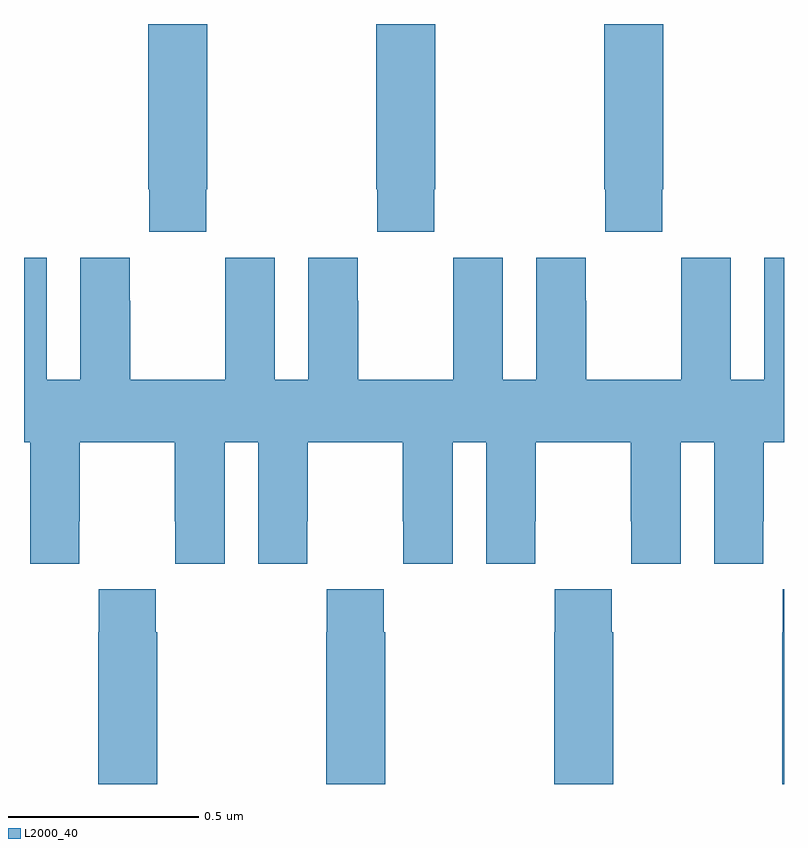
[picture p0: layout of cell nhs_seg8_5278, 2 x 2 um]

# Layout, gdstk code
import gdstk
lib = gdstk.Library(unit=1e-6, precision=1e-09)
def P(c, l, *ps):  # polygons
    for p in ps: c.add(gdstk.Polygon(p, *l))
L2000_40 = (2000, 40)

nhs_seg8_5278 = lib.new_cell('nhs_seg8_5278')
P(nhs_seg8_5278, L2000_40, [(182.679,1150.465),(182.682,1150.465),(182.682,1150.9),(182.527,1150.9),(182.527,1150.465),(182.529,1150.465),(182.529,1150.353),(182.679,1150.353)],
  [(182.079,1150.465),(182.082,1150.465),(182.082,1150.9),(181.927,1150.9),(181.927,1150.465),(181.929,1150.465),(181.929,1150.353),(182.079,1150.353)],
  [(181.479,1150.465),(181.482,1150.465),(181.482,1150.9),(181.327,1150.9),(181.327,1150.465),(181.329,1150.465),(181.329,1150.353),(181.479,1150.353)],
  [(181.146,1149.592),(181.147,1149.592),(181.147,1149.8),(181.397,1149.8),(181.397,1149.592),(181.398,1149.592),(181.398,1149.48),(181.528,1149.48),(181.528,1149.8),(181.616,1149.8),(181.616,1149.48),(181.746,1149.48),(181.746,1149.592),(181.747,1149.592),(181.747,1149.8),(181.997,1149.8),(181.997,1149.592),(181.998,1149.592),(181.998,1149.48),(182.128,1149.48),(182.128,1149.8),(182.216,1149.8),(182.216,1149.48),(182.346,1149.48),(182.346,1149.592),(182.347,1149.592),(182.347,1149.8),(182.597,1149.8),(182.597,1149.592),(182.598,1149.592),(182.598,1149.48),(182.728,1149.48),(182.728,1149.8),(182.816,1149.8),(182.816,1149.48),(182.946,1149.48),(182.946,1149.592),(182.947,1149.592),(182.947,1149.8),(183,1149.8),(183,1150.285),(182.948,1150.285),(182.948,1149.964),(182.86,1149.964),(182.86,1150.285),(182.73,1150.285),(182.73,1150.172),(182.729,1150.172),(182.729,1149.964),(182.479,1149.964),(182.479,1150.172),(182.478,1150.172),(182.478,1150.285),(182.348,1150.285),(182.348,1149.964),(182.26,1149.964),(182.26,1150.285),(182.13,1150.285),(182.13,1150.172),(182.129,1150.172),(182.129,1149.964),(181.879,1149.964),(181.879,1150.172),(181.878,1150.172),(181.878,1150.285),(181.748,1150.285),(181.748,1149.964),(181.66,1149.964),(181.66,1150.285),(181.53,1150.285),(181.53,1150.172),(181.529,1150.172),(181.529,1149.964),(181.279,1149.964),(181.279,1150.172),(181.278,1150.172),(181.278,1150.285),(181.148,1150.285),(181.148,1149.964),(181.06,1149.964),(181.06,1150.285),(181,1150.285),(181,1149.8),(181.016,1149.8),(181.016,1149.48),(181.146,1149.48)],
  [(181.35,1149.299),(181.347,1149.299),(181.347,1149.412),(181.197,1149.412),(181.197,1149.299),(181.195,1149.299),(181.195,1148.9),(181.35,1148.9)],
  [(181.95,1149.299),(181.947,1149.299),(181.947,1149.412),(181.797,1149.412),(181.797,1149.299),(181.795,1149.299),(181.795,1148.9),(181.95,1148.9)],
  [(182.55,1149.299),(182.547,1149.299),(182.547,1149.412),(182.397,1149.412),(182.397,1149.299),(182.395,1149.299),(182.395,1148.9),(182.55,1148.9)],
  [(183,1149.412),(182.997,1149.412),(182.997,1149.299),(182.995,1149.299),(182.995,1148.9),(183,1148.9)])

lib.write_gds('nhs_seg8_5278.gds')
